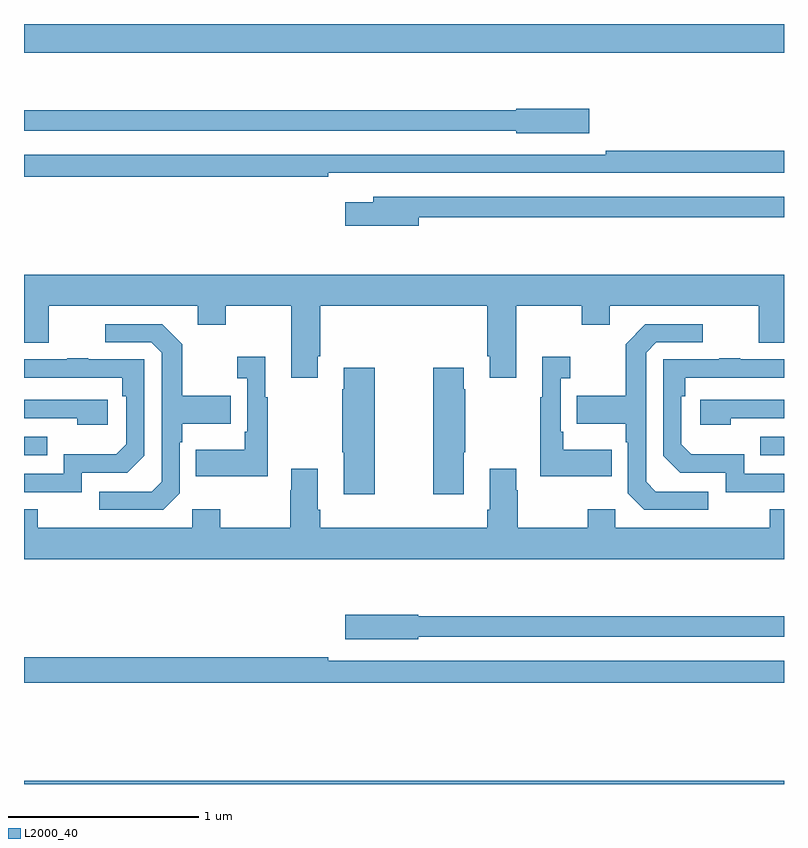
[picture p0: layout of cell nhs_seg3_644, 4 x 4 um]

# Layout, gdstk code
import gdstk
lib = gdstk.Library(unit=1e-6, precision=1e-09)
def R(c, l, rs):  # rectangles x0, y0, x1, y1
    for r in rs: c.add(gdstk.rectangle(r[:2], r[2:], *l))
def P(c, l, *ps):  # polygons
    for p in ps: c.add(gdstk.Polygon(p, *l))
L2000_40 = (2000, 40)

nhs_seg3_644 = lib.new_cell('nhs_seg3_644')
R(nhs_seg3_644, L2000_40, [(143,698.4,147,698.416), (143,700.131,143.123,700.227), (146.875,700.131,147,700.227), (143,702.248,147,702.4)])
P(nhs_seg3_644, L2000_40, [(145.975,701.955),(145.59,701.955),(145.59,701.947),(143,701.947),(143,701.838),(145.59,701.838),(145.59,701.825),(145.975,701.825)],
  [(144.602,701.616),(147,701.616),(147,701.732),(146.062,701.732),(146.062,701.712),(143,701.712),(143,701.596),(144.602,701.596)],
  [(145.078,701.382),(147,701.382),(147,701.49),(144.839,701.49),(144.839,701.461),(144.69,701.461),(144.69,701.339),(145.078,701.339)],
  [(144.547,700.651),(144.56,700.651),(144.56,700.916),(145.439,700.916),(145.439,700.651),(145.451,700.651),(145.451,700.539),(145.591,700.539),(145.591,700.916),(145.936,700.916),(145.936,700.817),(146.083,700.817),(146.083,700.916),(146.867,700.916),(146.867,700.722),(147,700.722),(147,701.08),(143,701.08),(143,700.722),(143.131,700.722),(143.131,700.916),(143.915,700.916),(143.915,700.817),(144.063,700.817),(144.063,700.916),(144.407,700.916),(144.407,700.539),(144.547,700.539)],
  [(143.82,699.93),(143.82,700.199),(143.833,700.199),(143.833,700.295),(144.089,700.295),(144.089,700.443),(143.833,700.443),(143.833,700.715),(143.727,700.821),(143.427,700.821),(143.427,700.725),(143.67,700.725),(143.724,700.671),(143.724,699.99),(143.673,699.939),(143.397,699.939),(143.397,699.843),(143.733,699.843)],
  [(146.602,699.939),(146.325,699.939),(146.274,699.99),(146.274,700.671),(146.328,700.725),(146.572,700.725),(146.572,700.821),(146.271,700.821),(146.166,700.715),(146.166,700.443),(145.909,700.443),(145.909,700.295),(146.166,700.295),(146.166,700.199),(146.178,700.199),(146.178,699.93),(146.265,699.843),(146.602,699.843)],
  [(144.283,700.435),(144.271,700.435),(144.271,700.648),(144.123,700.648),(144.123,700.535),(144.174,700.535),(144.174,700.255),(144.162,700.255),(144.162,700.159),(143.905,700.159),(143.905,700.019),(144.283,700.019)],
  [(146.093,700.159),(145.837,700.159),(145.837,700.255),(145.824,700.255),(145.824,700.535),(145.876,700.535),(145.876,700.648),(145.727,700.648),(145.727,700.435),(145.716,700.435),(145.716,700.019),(146.093,700.019)],
  [(147,700.032),(146.79,700.032),(146.79,700.135),(146.513,700.135),(146.46,700.188),(146.46,700.442),(146.48,700.442),(146.48,700.539),(147,700.539),(147,700.635),(146.771,700.635),(146.771,700.64),(146.659,700.64),(146.659,700.635),(146.364,700.635),(146.364,700.128),(146.454,700.038),(146.694,700.038),(146.694,699.936),(147,699.936)],
  [(143.304,700.038),(143.544,700.038),(143.634,700.128),(143.634,700.635),(143.339,700.635),(143.339,700.64),(143.227,700.64),(143.227,700.635),(143,700.635),(143,700.539),(143.518,700.539),(143.518,700.442),(143.538,700.442),(143.538,700.188),(143.485,700.135),(143.208,700.135),(143.208,700.032),(143,700.032),(143,699.936),(143.304,699.936)],
  [(145.315,700.147),(145.323,700.147),(145.323,700.478),(145.315,700.478),(145.315,700.591),(145.153,700.591),(145.153,699.924),(145.315,699.924)],
  [(144.846,700.591),(144.683,700.591),(144.683,700.478),(144.676,700.478),(144.676,700.147),(144.683,700.147),(144.683,699.924),(144.846,699.924)],
  [(146.72,700.326),(147,700.326),(147,700.422),(146.559,700.422),(146.559,700.292),(146.72,700.292)],
  [(143.44,700.422),(143,700.422),(143,700.326),(143.279,700.326),(143.279,700.292),(143.44,700.292)],
  [(143.886,699.847),(143.886,699.748),(143.073,699.748),(143.073,699.847),(143,699.847),(143,699.584),(147,699.584),(147,699.847),(146.926,699.847),(146.926,699.748),(146.112,699.748),(146.112,699.847),(145.966,699.847),(145.966,699.748),(145.599,699.748),(145.599,699.947),(145.591,699.947),(145.591,700.06),(145.451,700.06),(145.451,699.844),(145.439,699.844),(145.439,699.748),(144.56,699.748),(144.56,699.844),(144.547,699.844),(144.547,700.06),(144.407,700.06),(144.407,699.947),(144.4,699.947),(144.4,699.748),(144.033,699.748),(144.033,699.847)],
  [(145.074,699.174),(147,699.174),(147,699.283),(145.074,699.283),(145.074,699.291),(144.69,699.291),(144.69,699.161),(145.074,699.161)],
  [(147,699.048),(144.602,699.048),(144.602,699.068),(143,699.068),(143,698.932),(147,698.932)])

lib.write_gds('nhs_seg3_644.gds')
